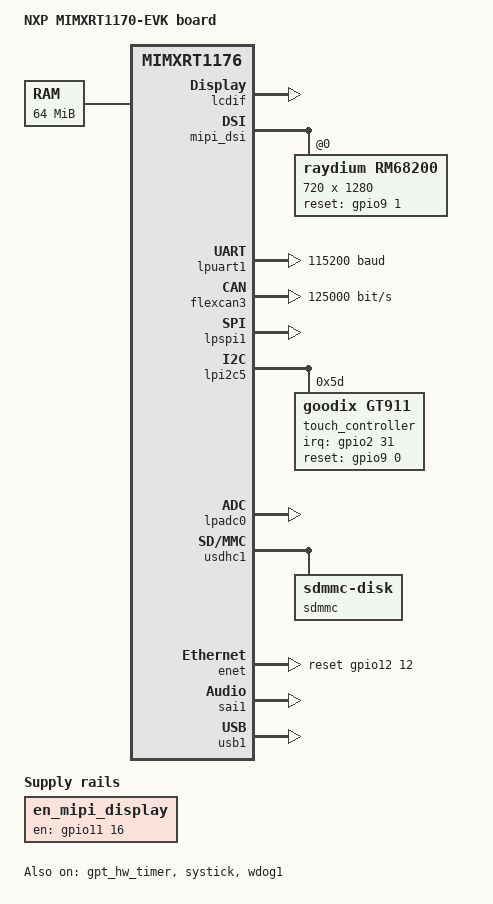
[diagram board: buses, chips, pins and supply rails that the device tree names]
/*
 * Copyright 2021-22, NXP
 *
 * SPDX-License-Identifier: Apache-2.0
 */

/dts-v1/;

#include <nxp/nxp_rt11xx_cm7.dtsi>
#include "mimxrt1170_evk.dtsi"
#include <zephyr/dt-bindings/display/panel.h>

/ {
	model = "NXP MIMXRT1170-EVK board";
	compatible = "nxp,mimxrt1176";

	aliases {
		mipi-dsi = &mipi_dsi;
		watchdog0 = &wdog1;
		kscan0 = &touch_controller;
	};

	chosen {
		zephyr,sram = &sdram0;
		zephyr,dtcm = &dtcm;
		zephyr,itcm = &itcm;
		zephyr,console = &lpuart1;
		zephyr,shell-uart = &lpuart1;
		zephyr,canbus = &flexcan3;
		zephyr,flash-controller = &is25wp128;
		zephyr,flash = &is25wp128;
		zephyr,code-partition = &slot0_partition;
		zephyr,display = &lcdif;
		zephyr,keyboard-scan = &touch_controller;
		zephyr,cpu1-region = &ocram;
		zephyr,ipc = &mailbox_a;
	};

	sdram0: memory@80000000 {
		/* Winbond W9825G6KH-5I */
		device_type = "memory";
		reg = <0x80000000 DT_SIZE_M(64)>;
	};

	en_mipi_display: enable-mipi-display {
		compatible = "regulator-fixed";
		regulator-name = "en_mipi_display";
		enable-gpios = <&gpio11 16 GPIO_ACTIVE_HIGH>;
		regulator-boot-on;
	};
};

&lcdif {
	status = "okay";
	pixel-format = <PANEL_PIXEL_FORMAT_BGR_565>;
	data-bus-width = "24-bit";
	backlight-gpios = <&gpio9 29 GPIO_ACTIVE_HIGH>;
	width = <720>;
	height = <1280>;

	display-timings {
		compatible = "zephyr,panel-timing";
		hsync-len = <8>;
		hfront-porch = <32>;
		hback-porch = <32>;
		vsync-len = <2>;
		vfront-porch = <16>;
		vback-porch = <14>;
		hsync-active = <0>;
		vsync-active = <0>;
		de-active = <1>;
		pixelclk-active = <0>;
		/*
		 * Pixel clock is given by the following formula:
		 * (height + vsync-len + vfront-porch + vback-porch) *
		 * (width + hsync-len + hfront-porch + hback-porch) * frame rate
		 */
		clock-frequency = <62346240>;
	};
};

&mipi_dsi {
	status = "okay";
	nxp,lcdif = <&lcdif>;
	dpi-color-coding = "24-bit";
	dpi-pixel-packet = "24-bit";
	dpi-video-mode = "burst";
	dpi-bllp-mode = "low-power";
	autoinsert-eotp;
	dphy-ref-frequency = <24000000>;
	/*
	 * PHY clock is given by the following formula:
	 * (pixel clock * bits per pixel) / MIPI data lanes
	 */
	phy-clock = <748154880>;
	rm68200@0 {
		status = "okay";
		compatible = "raydium,rm68200";
		reg = <0x0>;
		reset-gpios = <&gpio9 1 GPIO_ACTIVE_HIGH>;
		data-lanes = <2>;
		width = <720>;
		height = <1280>;
		pixel-format = <MIPI_DSI_PIXFMT_RGB565>;
	};
};

&lpuart1 {
	status = "okay";
	current-speed = <115200>;
};

&flexcan3 {
	status = "okay";
	bus-speed = <125000>;

	can-transceiver {
		max-bitrate = <5000000>;
	};
};

&lpspi1 {
	status = "okay";
};

&lpi2c5 {
	status = "okay";
	pinctrl-0 = <&pinmux_lpi2c5>;
	pinctrl-names = "default";

	touch_controller: gt911@5d {
		compatible = "goodix,gt911";
		reg = <0x5d>;
		irq-gpios = <&gpio2 31 GPIO_ACTIVE_HIGH>;
		reset-gpios = <&gpio9 0  GPIO_ACTIVE_HIGH>;
	};
};

&lpadc0 {
	status = "okay";
};

&usdhc1 {
	status = "okay";
	detect-dat3;
	pwr-gpios = <&gpio10 2 GPIO_ACTIVE_LOW>;
	sdmmc {
		compatible = "zephyr,sdmmc-disk";
		status = "okay";
	};
};

&edma0 {
	status = "okay";
};

/* GPT and Systick are enabled. If power management is enabled, the GPT
 * timer will be used instead of systick, as allows the core clock to
 * be gated.
 */
&gpt_hw_timer {
	status = "okay";
};

&systick {
	status = "okay";
};

&wdog1 {
	status = "okay";
};

&enet {
	status = "okay";
	int-gpios = <&gpio9 11 GPIO_ACTIVE_HIGH>;
	reset-gpios = <&gpio12 12 GPIO_ACTIVE_HIGH>;
	ptp {
		status = "okay";
	};
};

&sai1 {
	status = "okay";
};

zephyr_udc0: &usb1 {
	status = "okay";
};

&mailbox_a {
	status = "okay";
};
